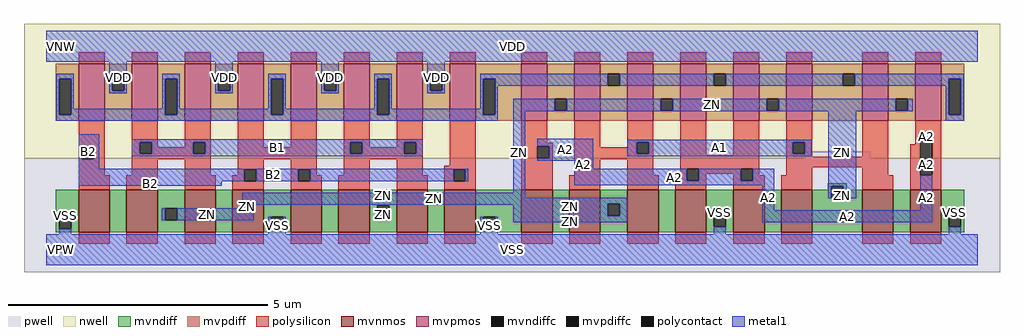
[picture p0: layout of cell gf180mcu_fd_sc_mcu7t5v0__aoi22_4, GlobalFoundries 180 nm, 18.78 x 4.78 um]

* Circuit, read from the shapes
.subckt gf180mcu_fd_sc_mcu7t5v0__aoi22_4 A1 A2 B1 B2 ZN VDD VNW VPW VSS
XM1 n1 B2 VSS VPW nfet_06v0 w=0.82u l=0.6u
XM2 ZN B1 n1 VPW nfet_06v0 w=0.82u l=0.6u
XM3 n2 B1 ZN VPW nfet_06v0 w=0.82u l=0.6u
XM4 VSS B2 n2 VPW nfet_06v0 w=0.82u l=0.6u
XM5 n3 B2 VSS VPW nfet_06v0 w=0.82u l=0.6u
XM6 ZN B1 n3 VPW nfet_06v0 w=0.82u l=0.6u
XM7 n4 B1 ZN VPW nfet_06v0 w=0.82u l=0.6u
XM8 VSS B2 n4 VPW nfet_06v0 w=0.82u l=0.6u
XM9 n5 A2 VSS VPW nfet_06v0 w=0.82u l=0.6u
XM10 ZN A1 n5 VPW nfet_06v0 w=0.82u l=0.6u
XM11 n6 A1 ZN VPW nfet_06v0 w=0.82u l=0.6u
XM12 VSS A2 n6 VPW nfet_06v0 w=0.82u l=0.6u
XM13 n7 A2 VSS VPW nfet_06v0 w=0.82u l=0.6u
XM14 ZN A1 n7 VPW nfet_06v0 w=0.82u l=0.6u
XM15 n8 A1 ZN VPW nfet_06v0 w=0.82u l=0.6u
XM16 VSS A2 n8 VPW nfet_06v0 w=0.82u l=0.6u
XM17 VDD B2 n9 VNW pfet_06v0 w=1.095u l=0.5u m=4
XM18 n9 B1 VDD VNW pfet_06v0 w=1.095u l=0.5u m=4
XM19 ZN A2 n9 VNW pfet_06v0 w=1.095u l=0.5u m=4
XM20 n9 A1 ZN VNW pfet_06v0 w=1.095u l=0.5u m=4
.ends

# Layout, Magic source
magic
tech gf180mcuD
magscale 1 10
<< nwell >>
rect -86 377 3670 870
rect -86 352 2919 377
rect 3171 352 3670 377
<< pwell >>
rect 2919 352 3171 377
rect -86 -86 3670 352
<< mvnmos >>
rect 124 68 244 232
rect 308 68 428 232
rect 532 68 652 232
rect 716 68 836 232
rect 940 68 1060 232
rect 1124 68 1244 232
rect 1348 68 1468 232
rect 1532 68 1652 232
rect 1828 68 1948 232
rect 2012 68 2132 232
rect 2236 68 2356 232
rect 2420 68 2540 232
rect 2644 68 2764 232
rect 2828 68 2948 232
rect 3140 68 3260 232
rect 3324 68 3444 232
<< mvpmos >>
rect 124 497 224 716
rect 328 497 428 716
rect 532 497 632 716
rect 736 497 836 716
rect 940 497 1040 716
rect 1144 497 1244 716
rect 1348 497 1448 716
rect 1552 497 1652 716
rect 1828 497 1928 716
rect 2032 497 2132 716
rect 2236 497 2336 716
rect 2440 497 2540 716
rect 2644 497 2744 716
rect 2848 497 2948 716
rect 3140 497 3240 716
rect 3344 497 3444 716
<< mvndiff >>
rect 3008 244 3080 257
rect 3008 232 3021 244
rect 36 128 124 232
rect 36 82 49 128
rect 95 82 124 128
rect 36 68 124 82
rect 244 68 308 232
rect 428 160 532 232
rect 428 114 457 160
rect 503 114 532 160
rect 428 68 532 114
rect 652 68 716 232
rect 836 127 940 232
rect 836 81 865 127
rect 911 81 940 127
rect 836 68 940 81
rect 1060 68 1124 232
rect 1244 171 1348 232
rect 1244 125 1273 171
rect 1319 125 1348 171
rect 1244 68 1348 125
rect 1468 68 1532 232
rect 1652 127 1828 232
rect 1652 81 1681 127
rect 1727 81 1828 127
rect 1652 68 1828 81
rect 1948 68 2012 232
rect 2132 178 2236 232
rect 2132 132 2161 178
rect 2207 132 2236 178
rect 2132 68 2236 132
rect 2356 68 2420 232
rect 2540 135 2644 232
rect 2540 89 2569 135
rect 2615 89 2644 135
rect 2540 68 2644 89
rect 2764 68 2828 232
rect 2948 198 3021 232
rect 3067 232 3080 244
rect 3067 198 3140 232
rect 2948 68 3140 198
rect 3260 68 3324 232
rect 3444 135 3532 232
rect 3444 89 3473 135
rect 3519 89 3532 135
rect 3444 68 3532 89
<< mvpdiff >>
rect 36 659 124 716
rect 36 519 49 659
rect 95 519 124 659
rect 36 497 124 519
rect 224 659 328 716
rect 224 613 253 659
rect 299 613 328 659
rect 224 497 328 613
rect 428 659 532 716
rect 428 519 457 659
rect 503 519 532 659
rect 428 497 532 519
rect 632 659 736 716
rect 632 613 661 659
rect 707 613 736 659
rect 632 497 736 613
rect 836 659 940 716
rect 836 519 865 659
rect 911 519 940 659
rect 836 497 940 519
rect 1040 659 1144 716
rect 1040 613 1069 659
rect 1115 613 1144 659
rect 1040 497 1144 613
rect 1244 659 1348 716
rect 1244 519 1273 659
rect 1319 519 1348 659
rect 1244 497 1348 519
rect 1448 659 1552 716
rect 1448 613 1477 659
rect 1523 613 1552 659
rect 1448 497 1552 613
rect 1652 659 1828 716
rect 1652 519 1681 659
rect 1727 519 1828 659
rect 1652 497 1828 519
rect 1928 581 2032 716
rect 1928 535 1957 581
rect 2003 535 2032 581
rect 1928 497 2032 535
rect 2132 678 2236 716
rect 2132 632 2161 678
rect 2207 632 2236 678
rect 2132 497 2236 632
rect 2336 581 2440 716
rect 2336 535 2365 581
rect 2411 535 2440 581
rect 2336 497 2440 535
rect 2540 678 2644 716
rect 2540 632 2569 678
rect 2615 632 2644 678
rect 2540 497 2644 632
rect 2744 581 2848 716
rect 2744 535 2773 581
rect 2819 535 2848 581
rect 2744 497 2848 535
rect 2948 678 3140 716
rect 2948 632 3065 678
rect 3111 632 3140 678
rect 2948 497 3140 632
rect 3240 581 3344 716
rect 3240 535 3269 581
rect 3315 535 3344 581
rect 3240 497 3344 535
rect 3444 659 3532 716
rect 3444 519 3473 659
rect 3519 519 3532 659
rect 3444 497 3532 519
<< mvndiffc >>
rect 49 82 95 128
rect 457 114 503 160
rect 865 81 911 127
rect 1273 125 1319 171
rect 1681 81 1727 127
rect 2161 132 2207 178
rect 2569 89 2615 135
rect 3021 198 3067 244
rect 3473 89 3519 135
<< mvpdiffc >>
rect 49 519 95 659
rect 253 613 299 659
rect 457 519 503 659
rect 661 613 707 659
rect 865 519 911 659
rect 1069 613 1115 659
rect 1273 519 1319 659
rect 1477 613 1523 659
rect 1681 519 1727 659
rect 1957 535 2003 581
rect 2161 632 2207 678
rect 2365 535 2411 581
rect 2569 632 2615 678
rect 2773 535 2819 581
rect 3065 632 3111 678
rect 3269 535 3315 581
rect 3473 519 3519 659
<< polysilicon >>
rect 124 716 224 760
rect 328 716 428 760
rect 532 716 632 760
rect 736 716 836 760
rect 940 716 1040 760
rect 1144 716 1244 760
rect 1348 716 1448 760
rect 1552 716 1652 760
rect 1828 716 1928 760
rect 2032 716 2132 760
rect 2236 716 2336 760
rect 2440 716 2540 760
rect 2644 716 2744 760
rect 2848 716 2948 760
rect 3140 716 3240 760
rect 3344 716 3444 760
rect 124 394 224 497
rect 124 348 137 394
rect 183 348 224 394
rect 124 288 224 348
rect 328 415 428 497
rect 328 369 359 415
rect 405 394 428 415
rect 532 415 632 497
rect 532 394 565 415
rect 405 369 565 394
rect 611 369 632 415
rect 328 348 632 369
rect 328 288 428 348
rect 124 232 244 288
rect 308 232 428 288
rect 532 288 632 348
rect 736 394 836 497
rect 940 394 1040 497
rect 736 348 1040 394
rect 736 311 836 348
rect 736 288 761 311
rect 532 232 652 288
rect 716 265 761 288
rect 807 265 836 311
rect 716 232 836 265
rect 940 311 1040 348
rect 940 265 969 311
rect 1015 288 1040 311
rect 1144 415 1244 497
rect 1144 369 1170 415
rect 1216 394 1244 415
rect 1348 415 1448 497
rect 1348 394 1377 415
rect 1216 369 1377 394
rect 1423 369 1448 415
rect 1144 348 1448 369
rect 1144 288 1244 348
rect 1015 265 1060 288
rect 940 232 1060 265
rect 1124 232 1244 288
rect 1348 288 1448 348
rect 1552 324 1652 497
rect 1532 311 1652 324
rect 1348 232 1468 288
rect 1532 265 1567 311
rect 1613 265 1652 311
rect 1532 232 1652 265
rect 1828 412 1928 497
rect 1828 399 1948 412
rect 1828 353 1889 399
rect 1935 353 1948 399
rect 1828 232 1948 353
rect 2032 394 2132 497
rect 2236 415 2336 497
rect 2236 394 2272 415
rect 2032 369 2272 394
rect 2318 369 2336 415
rect 2032 348 2336 369
rect 2032 288 2132 348
rect 2012 232 2132 288
rect 2236 288 2336 348
rect 2440 365 2540 497
rect 2644 365 2744 497
rect 2440 312 2744 365
rect 2440 288 2464 312
rect 2236 232 2356 288
rect 2420 266 2464 288
rect 2510 292 2673 312
rect 2510 266 2540 292
rect 2420 232 2540 266
rect 2644 266 2673 292
rect 2719 288 2744 312
rect 2848 415 2948 497
rect 2848 369 2872 415
rect 2918 369 2948 415
rect 2848 358 2948 369
rect 3140 358 3240 497
rect 3344 428 3444 497
rect 3344 407 3364 428
rect 2848 318 3240 358
rect 2848 288 2948 318
rect 2719 266 2764 288
rect 2644 232 2764 266
rect 2828 232 2948 288
rect 3140 288 3240 318
rect 3324 288 3364 407
rect 3410 288 3444 428
rect 3140 232 3260 288
rect 3324 232 3444 288
rect 124 24 244 68
rect 308 24 428 68
rect 532 24 652 68
rect 716 24 836 68
rect 940 24 1060 68
rect 1124 24 1244 68
rect 1348 24 1468 68
rect 1532 24 1652 68
rect 1828 24 1948 68
rect 2012 24 2132 68
rect 2236 24 2356 68
rect 2420 24 2540 68
rect 2644 24 2764 68
rect 2828 24 2948 68
rect 3140 24 3260 68
rect 3324 24 3444 68
<< polycontact >>
rect 137 348 183 394
rect 359 369 405 415
rect 565 369 611 415
rect 761 265 807 311
rect 969 265 1015 311
rect 1170 369 1216 415
rect 1377 369 1423 415
rect 1567 265 1613 311
rect 1889 353 1935 399
rect 2272 369 2318 415
rect 2464 266 2510 312
rect 2673 266 2719 312
rect 2872 369 2918 415
rect 3364 288 3410 428
<< metal1 >>
rect 0 724 3584 844
rect 38 659 106 678
rect 38 519 49 659
rect 95 543 106 659
rect 242 659 310 724
rect 242 613 253 659
rect 299 613 310 659
rect 242 602 310 613
rect 446 659 514 678
rect 446 543 457 659
rect 95 519 457 543
rect 503 543 514 659
rect 650 659 718 724
rect 650 613 661 659
rect 707 613 718 659
rect 650 602 718 613
rect 854 659 922 678
rect 854 543 865 659
rect 503 519 865 543
rect 911 543 922 659
rect 1058 659 1126 724
rect 1058 613 1069 659
rect 1115 613 1126 659
rect 1058 602 1126 613
rect 1262 659 1330 678
rect 1262 543 1273 659
rect 911 519 1273 543
rect 1319 543 1330 659
rect 1466 659 1534 724
rect 1466 613 1477 659
rect 1523 613 1534 659
rect 1466 602 1534 613
rect 1670 659 2161 678
rect 1670 543 1681 659
rect 1319 519 1681 543
rect 1727 632 2161 659
rect 2207 632 2569 678
rect 2615 632 3065 678
rect 3111 659 3530 678
rect 3111 632 3473 659
rect 1727 519 1738 632
rect 38 497 1738 519
rect 1797 581 3334 582
rect 1797 535 1957 581
rect 2003 535 2365 581
rect 2411 535 2773 581
rect 2819 535 3269 581
rect 3315 535 3334 581
rect 1797 534 3334 535
rect 124 394 204 445
rect 124 348 137 394
rect 183 348 204 394
rect 328 415 1448 426
rect 328 369 359 415
rect 405 369 565 415
rect 611 369 1170 415
rect 1216 369 1377 415
rect 1423 369 1448 415
rect 328 360 1448 369
rect 124 312 204 348
rect 124 311 1624 312
rect 124 265 761 311
rect 807 265 969 311
rect 1015 265 1567 311
rect 1613 265 1624 311
rect 124 246 675 265
rect 1797 219 1843 534
rect 1889 399 2104 428
rect 1935 353 2104 399
rect 2236 415 2946 424
rect 2236 369 2272 415
rect 2318 369 2872 415
rect 2918 369 2946 415
rect 2236 360 2946 369
rect 1889 342 2104 353
rect 2032 312 2104 342
rect 2032 266 2464 312
rect 2510 266 2673 312
rect 2719 266 2802 312
rect 2032 248 2802 266
rect 753 200 1843 219
rect 753 178 2236 200
rect 753 173 2161 178
rect 753 160 799 173
rect 49 128 95 139
rect 445 114 457 160
rect 503 114 799 160
rect 1273 171 1319 173
rect 49 60 95 82
rect 854 81 865 127
rect 911 81 922 127
rect 1797 132 2161 173
rect 2207 132 2236 178
rect 2756 152 2802 248
rect 3010 244 3116 534
rect 3462 519 3473 632
rect 3519 519 3530 659
rect 3462 497 3530 519
rect 3010 198 3021 244
rect 3067 198 3116 244
rect 3364 428 3410 447
rect 3364 152 3410 288
rect 1273 114 1319 125
rect 854 60 922 81
rect 1670 81 1681 127
rect 1727 81 1738 127
rect 1797 106 2236 132
rect 2569 135 2615 146
rect 1670 60 1738 81
rect 2756 106 3410 152
rect 3473 135 3519 146
rect 2569 60 2615 89
rect 3473 60 3519 89
rect 0 -60 3584 60
<< labels >>
flabel metal1 s 3364 428 3410 447 0 FreeSans 600 0 0 0 A2
port 2 nsew default input
flabel metal1 s 328 360 1448 426 0 FreeSans 600 0 0 0 B1
port 3 nsew default input
flabel metal1 s 124 312 204 445 0 FreeSans 600 0 0 0 B2
port 4 nsew default input
flabel metal1 s 0 724 3584 844 0 FreeSans 600 0 0 0 VDD
port 6 nsew power bidirectional abutment
flabel metal1 s 3473 139 3519 146 0 FreeSans 600 0 0 0 VSS
port 9 nsew ground bidirectional abutment
flabel metal1 s 1797 534 3334 582 0 FreeSans 600 0 0 0 ZN
port 5 nsew default output
flabel metal1 s 2236 360 2946 424 0 FreeSans 600 0 0 0 A1
port 1 nsew default input
flabel nwell s 10 734 110 834 0 FreeSans 400 0 0 0 VNW
port 7 nsew power bidirectional
flabel pwell s 10 -50 110 50 0 FreeSans 400 0 0 0 VPW
port 8 nsew ground bidirectional
rlabel metal1 s 3364 342 3410 428 1 A2
port 2 nsew default input
rlabel metal1 s 1889 342 2104 428 1 A2
port 2 nsew default input
rlabel metal1 s 3364 312 3410 342 1 A2
port 2 nsew default input
rlabel metal1 s 2032 312 2104 342 1 A2
port 2 nsew default input
rlabel metal1 s 3364 248 3410 312 1 A2
port 2 nsew default input
rlabel metal1 s 2032 248 2802 312 1 A2
port 2 nsew default input
rlabel metal1 s 3364 152 3410 248 1 A2
port 2 nsew default input
rlabel metal1 s 2756 152 2802 248 1 A2
port 2 nsew default input
rlabel metal1 s 2756 106 3410 152 1 A2
port 2 nsew default input
rlabel metal1 s 124 265 1624 312 1 B2
port 4 nsew default input
rlabel metal1 s 124 246 675 265 1 B2
port 4 nsew default input
rlabel metal1 s 3010 219 3116 534 1 ZN
port 5 nsew default output
rlabel metal1 s 1797 219 1843 534 1 ZN
port 5 nsew default output
rlabel metal1 s 3010 200 3116 219 1 ZN
port 5 nsew default output
rlabel metal1 s 753 200 1843 219 1 ZN
port 5 nsew default output
rlabel metal1 s 3010 198 3116 200 1 ZN
port 5 nsew default output
rlabel metal1 s 753 198 2236 200 1 ZN
port 5 nsew default output
rlabel metal1 s 753 173 2236 198 1 ZN
port 5 nsew default output
rlabel metal1 s 1797 160 2236 173 1 ZN
port 5 nsew default output
rlabel metal1 s 1273 160 1319 173 1 ZN
port 5 nsew default output
rlabel metal1 s 753 160 799 173 1 ZN
port 5 nsew default output
rlabel metal1 s 1797 114 2236 160 1 ZN
port 5 nsew default output
rlabel metal1 s 1273 114 1319 160 1 ZN
port 5 nsew default output
rlabel metal1 s 445 114 799 160 1 ZN
port 5 nsew default output
rlabel metal1 s 1797 106 2236 114 1 ZN
port 5 nsew default output
rlabel metal1 s 1466 602 1534 724 1 VDD
port 6 nsew power bidirectional abutment
rlabel metal1 s 1058 602 1126 724 1 VDD
port 6 nsew power bidirectional abutment
rlabel metal1 s 650 602 718 724 1 VDD
port 6 nsew power bidirectional abutment
rlabel metal1 s 242 602 310 724 1 VDD
port 6 nsew power bidirectional abutment
rlabel metal1 s 2569 139 2615 146 1 VSS
port 9 nsew ground bidirectional abutment
rlabel metal1 s 3473 127 3519 139 1 VSS
port 9 nsew ground bidirectional abutment
rlabel metal1 s 2569 127 2615 139 1 VSS
port 9 nsew ground bidirectional abutment
rlabel metal1 s 49 127 95 139 1 VSS
port 9 nsew ground bidirectional abutment
rlabel metal1 s 3473 60 3519 127 1 VSS
port 9 nsew ground bidirectional abutment
rlabel metal1 s 2569 60 2615 127 1 VSS
port 9 nsew ground bidirectional abutment
rlabel metal1 s 1670 60 1738 127 1 VSS
port 9 nsew ground bidirectional abutment
rlabel metal1 s 854 60 922 127 1 VSS
port 9 nsew ground bidirectional abutment
rlabel metal1 s 49 60 95 127 1 VSS
port 9 nsew ground bidirectional abutment
rlabel metal1 s 0 -60 3584 60 1 VSS
port 9 nsew ground bidirectional abutment
<< properties >>
string FIXED_BBOX 0 0 3584 784
string GDS_END 1276460
string GDS_FILE $PDKPATH/libs.ref/gf180mcu_fd_sc_mcu7t5v0/gds/gf180mcu_fd_sc_mcu7t5v0.gds
string GDS_START 1269310
string LEFclass core
string LEFsite GF018hv5v_mcu_sc7
string LEFsymmetry X Y
<< end >>
